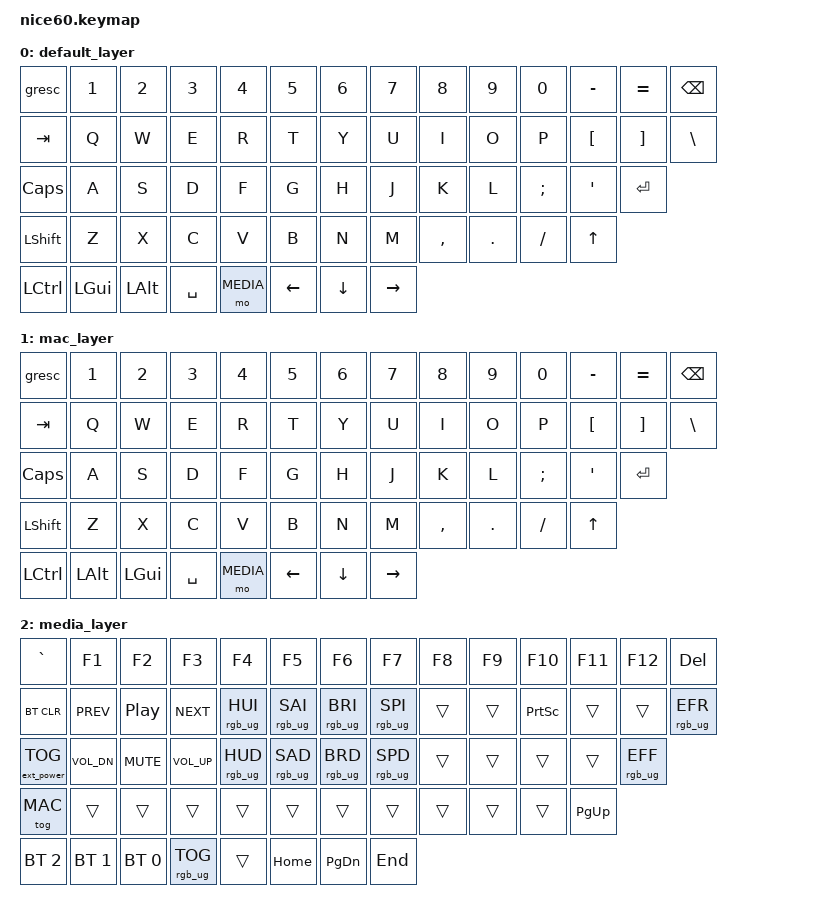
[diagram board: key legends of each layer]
/*
 * Copyright (c) 2021 Nick Winans
 *
 * SPDX-License-Identifier: MIT
 */

#include <behaviors.dtsi>
#include <dt-bindings/zmk/keys.h>
#include <dt-bindings/zmk/rgb.h>
#include <dt-bindings/zmk/bt.h>
#include <dt-bindings/zmk/outputs.h>
#include <dt-bindings/zmk/reset.h>
#include <dt-bindings/zmk/ext_power.h>

#define DEFAULT 0
#define MAC     1
#define MEDIA   2

/ {	    
	keymap {
		compatible = "zmk,keymap";
		
		default_layer {
// ------------------------------------------------------------------------------------------
// | ESC |  1  |  2  |  3  |  4  |  5  |  6  |  7  |  8  |  9  |  0  |  -  |  =  |   BKSP   |
// | TAB  |  Q  |  W  |  E  |  R  |  T  |  Y  |  U  |  I  |  O  |  P  |  [  |  ]  |   "|"   |
// | CAPS  |  A  |  S  |  D  |  F  |  G  |  H  |  J  |  K  |  L  |  ;  |  '  |     ENTER    |
// |  SHIFT  |  Z  |  X  |  C  |  V  |  B  |  N  |  M  |  ,  |  .  |  /  |        UP        |
// |  CTL  |  GUI  |  ALT  |            SPACE           |  MO(2)  |  LEFT  | DOWN |  RIGHT  |
// ------------------------------------------------------------------------------------------
			bindings = <
	&gresc    &kp N1   &kp N2   &kp N3    &kp N4    &kp N5    &kp N6   &kp N7    &kp N8    &kp N9  &kp N0   &kp MINUS &kp EQUAL &kp BSPC
	&kp TAB   &kp Q    &kp W    &kp E     &kp R     &kp T     &kp Y    &kp U     &kp I     &kp O   &kp P    &kp LBKT  &kp RBKT  &kp BSLH
	&kp CLCK  &kp A    &kp S    &kp D     &kp F     &kp G     &kp H    &kp J     &kp K     &kp L   &kp SEMI &kp SQT   &kp RET
	&kp LSHFT &kp Z    &kp X    &kp C     &kp V     &kp B     &kp N    &kp M     &kp COMMA &kp DOT &kp FSLH &kp UP
	&kp LCTRL &kp LGUI &kp LALT &kp SPACE &mo MEDIA &kp LEFT  &kp DOWN &kp RIGHT
			>;
		};
		
		mac_layer {
// ------------------------------------------------------------------------------------------
// | ESC |  1  |  2  |  3  |  4  |  5  |  6  |  7  |  8  |  9  |  0  |  -  |  =  |   BKSP   |
// | TAB  |  Q  |  W  |  E  |  R  |  T  |  Y  |  U  |  I  |  O  |  P  |  [  |  ]  |   "|"   |
// | CAPS  |  A  |  S  |  D  |  F  |  G  |  H  |  J  |  K  |  L  |  ;  |  '  |     ENTER    |
// |  SHIFT  |  Z  |  X  |  C  |  V  |  B  |  N  |  M  |  ,  |  .  |  /  |        UP        |
// |  CTL  |  ALT  |  GUI  |            SPACE           |  MO(1)  |  LEFT  | DOWN |  RIGHT  |
// ------------------------------------------------------------------------------------------
			bindings = <
	&gresc    &kp N1   &kp N2   &kp N3    &kp N4    &kp N5    &kp N6   &kp N7    &kp N8    &kp N9  &kp N0   &kp MINUS &kp EQUAL &kp BSPC
	&kp TAB   &kp Q    &kp W    &kp E     &kp R     &kp T     &kp Y    &kp U     &kp I     &kp O   &kp P    &kp LBKT  &kp RBKT  &kp BSLH
	&kp CLCK  &kp A    &kp S    &kp D     &kp F     &kp G     &kp H    &kp J     &kp K     &kp L   &kp SEMI &kp SQT   &kp RET
	&kp LSHFT &kp Z    &kp X    &kp C     &kp V     &kp B     &kp N    &kp M     &kp COMMA &kp DOT &kp FSLH &kp UP
	&kp LCTRL &kp LALT &kp LGUI &kp SPACE &mo MEDIA &kp LEFT  &kp DOWN &kp RIGHT
			>;
		};
		
		media_layer {
// ------------------------------------------------------------------------------------------------
// | GRAVE | F1  | F2  | F3  | F4  | F5  | F6  | F7  | F8  | F9  | F10  | F11 | F12 |     DEL      |
// | BT CLR | C_PREV | C_PP | C_NEXT | HUEUP | SATUP | BRIUP | SPDUP |  |  | PSCRN |  |  | EFF REV |
// | EP_TOG  | C_VOL_DN | C_MUTE | C_VOL_UP | HUEDN | SATDN | BRIDN | SPDDN |  |  |  |  | EFF FORW |
// |           |     |     |     |     |      |      |     |     |     |        |                  |
// | BT 3 |  BT 2  |  BT 1  |             TOG RGB               |        |        |        |       |
// ------------------------------------------------------------------------------------------------
			bindings = <
	&kp GRAVE         &kp F1       &kp F2       &kp F3          &kp F4          &kp F5          &kp F6          &kp F7          &kp F8   &kp F9   &kp F10   &kp F11   &kp F12         &kp DEL
	&bt BT_CLR        &kp C_PREV   &kp C_PP     &kp C_NEXT      &rgb_ug RGB_HUI &rgb_ug RGB_SAI &rgb_ug RGB_BRI &rgb_ug RGB_SPI &trans   &trans   &kp PSCRN &trans    &trans          &rgb_ug RGB_EFR   
	&ext_power EP_TOG &kp C_VOL_DN &kp C_MUTE   &kp C_VOL_UP    &rgb_ug RGB_HUD &rgb_ug RGB_SAD &rgb_ug RGB_BRD &rgb_ug RGB_SPD &trans   &trans   &trans    &trans    &rgb_ug RGB_EFF
	&tog MAC          &trans       &trans       &trans          &trans          &trans          &trans          &trans          &trans   &trans   &trans    &kp PG_UP
	&bt BT_SEL 2      &bt BT_SEL 1 &bt BT_SEL 0 &rgb_ug RGB_TOG &trans          &kp HOME        &kp PG_DN       &kp END
			>;
		};
	
	};
};
